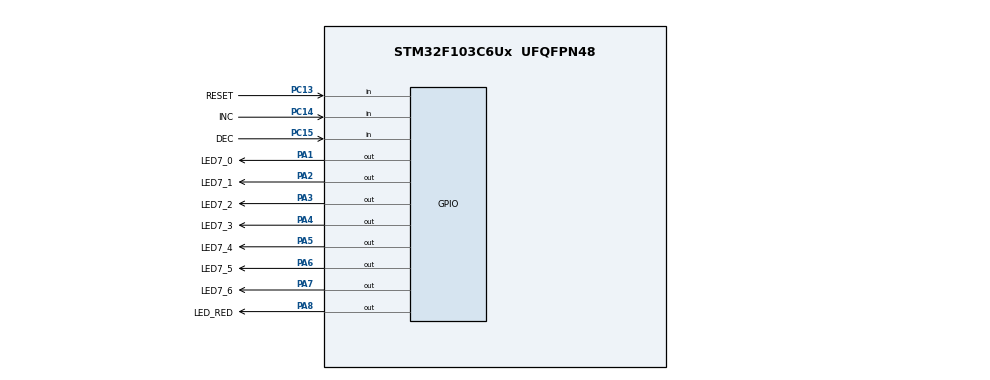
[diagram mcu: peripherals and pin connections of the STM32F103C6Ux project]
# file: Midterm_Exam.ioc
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Mcu.Family=STM32F1
Mcu.Name=STM32F103C6Ux
Mcu.Package=UFQFPN48
NVIC.PriorityGroup=NVIC_PRIORITYGROUP_4
NVIC.TIM2_IRQn=true\:0\:0\:false\:false\:true\:true\:true\:true
PA1.GPIO_Label=LED7_0
PA1.Signal=GPIO_Output
PA2.GPIO_Label=LED7_1
PA2.Signal=GPIO_Output
PA3.GPIO_Label=LED7_2
PA3.Signal=GPIO_Output
PA4.GPIO_Label=LED7_3
PA4.Signal=GPIO_Output
PA5.GPIO_Label=LED7_4
PA5.Signal=GPIO_Output
PA6.GPIO_Label=LED7_5
PA6.Signal=GPIO_Output
PA7.GPIO_Label=LED7_6
PA7.Signal=GPIO_Output
PA8.GPIO_Label=LED_RED
PA8.Signal=GPIO_Output
PC13-TAMPER-RTC.GPIO_Label=RESET
PC13-TAMPER-RTC.GPIO_PuPd=GPIO_PULLUP
PC13-TAMPER-RTC.Signal=GPIO_Input
PC14-OSC32_IN.GPIO_Label=INC
PC14-OSC32_IN.GPIO_PuPd=GPIO_PULLUP
PC14-OSC32_IN.Signal=GPIO_Input
PC15-OSC32_OUT.GPIO_Label=DEC
PC15-OSC32_OUT.GPIO_PuPd=GPIO_PULLUP
PC15-OSC32_OUT.Signal=GPIO_Input
ProjectManager.HeapSize=0x200
ProjectManager.StackSize=0x400
ProjectManager.TargetToolchain=STM32CubeIDE
RCC.APB1Freq_Value=8000000
RCC.APB2Freq_Value=8000000
TIM2.Period=9
TIM2.Prescaler=7999
VP_TIM2_VS_ClockSourceINT.Mode=Internal
board=custom

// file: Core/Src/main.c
/* USER CODE BEGIN Header */
/**
  ******************************************************************************
  * @file           : main.c
  * @brief          : Main program body
  ******************************************************************************
  * @attention
  *
  * Copyright (c) 2022 STMicroelectronics.
  * All rights reserved.
  *
  * This software is licensed under terms that can be found in the LICENSE file
  * in the root directory of this software component.
  * If no LICENSE file comes with this software, it is provided AS-IS.
  *
  ******************************************************************************
  */
/* USER CODE END Header */
#include "main.h"

/* USER CODE BEGIN Includes */
#include "software_timer.h"
#include "button.h"
#include "display7SEG.h"
#include "LedBlinky.h"
#include "fsm_simple_buttons_run.h"
#include "fsm_auto.h"
#include "fsm_long.h"
/* USER CODE END Includes */

TIM_HandleTypeDef htim2;

void SystemClock_Config(void);
static void MX_GPIO_Init(void);
static void MX_TIM2_Init(void);

int main(void)
{

  /* MCU Configuration--------------------------------------------------------*/

  /* Reset of all peripherals, Initializes the Flash interface and the Systick. */
  HAL_Init();

  /* Configure the system clock */
  SystemClock_Config();

  /* Initialize all configured peripherals */
  MX_GPIO_Init();
  MX_TIM2_Init();
  /* USER CODE BEGIN 2 */
  HAL_TIM_Base_Start_IT(&htim2);
  /* USER CODE END 2 */

  /* Infinite loop */
  /* USER CODE BEGIN WHILE */
status = BUT0;
  while (1)
  {
	  fsm_simple_buttons_run();
	  fsm_LedBlinky_run();
	  fsm_auto_run();
	  fsm_long_run();
	  }
    /* USER CODE END WHILE */

  }

void SystemClock_Config(void)
{
  RCC_OscInitTypeDef RCC_OscInitStruct = {0};
  RCC_ClkInitTypeDef RCC_ClkInitStruct = {0};

  /** Initializes the RCC Oscillators according to the specified parameters
  * in the RCC_OscInitTypeDef structure.
  */
  RCC_OscInitStruct.OscillatorType = RCC_OSCILLATORTYPE_HSI;
  RCC_OscInitStruct.HSIState = RCC_HSI_ON;
  RCC_OscInitStruct.HSICalibrationValue = RCC_HSICALIBRATION_DEFAULT;
  RCC_OscInitStruct.PLL.PLLState = RCC_PLL_NONE;
  if (HAL_RCC_OscConfig(&RCC_OscInitStruct) != HAL_OK)
  {
    Error_Handler();
  }

  /** Initializes the CPU, AHB and APB buses clocks
  */
  RCC_ClkInitStruct.ClockType = RCC_CLOCKTYPE_HCLK|RCC_CLOCKTYPE_SYSCLK
                              |RCC_CLOCKTYPE_PCLK1|RCC_CLOCKTYPE_PCLK2;
  RCC_ClkInitStruct.SYSCLKSource = RCC_SYSCLKSOURCE_HSI;
  RCC_ClkInitStruct.AHBCLKDivider = RCC_SYSCLK_DIV1;
  RCC_ClkInitStruct.APB1CLKDivider = RCC_HCLK_DIV1;
  RCC_ClkInitStruct.APB2CLKDivider = RCC_HCLK_DIV1;

  if (HAL_RCC_ClockConfig(&RCC_ClkInitStruct, FLASH_LATENCY_0) != HAL_OK)
  {
    Error_Handler();
  }
}

static void MX_TIM2_Init(void)
{

  TIM_ClockConfigTypeDef sClockSourceConfig = {0};
  TIM_MasterConfigTypeDef sMasterConfig = {0};

  htim2.Instance = TIM2;
  htim2.Init.Prescaler = 7999;
  htim2.Init.CounterMode = TIM_COUNTERMODE_UP;
  htim2.Init.Period = 9;
  htim2.Init.ClockDivision = TIM_CLOCKDIVISION_DIV1;
  htim2.Init.AutoReloadPreload = TIM_AUTORELOAD_PRELOAD_DISABLE;
  if (HAL_TIM_Base_Init(&htim2) != HAL_OK)
  {
    Error_Handler();
  }
  sClockSourceConfig.ClockSource = TIM_CLOCKSOURCE_INTERNAL;
  if (HAL_TIM_ConfigClockSource(&htim2, &sClockSourceConfig) != HAL_OK)
  {
    Error_Handler();
  }
  sMasterConfig.MasterOutputTrigger = TIM_TRGO_RESET;
  sMasterConfig.MasterSlaveMode = TIM_MASTERSLAVEMODE_DISABLE;
  if (HAL_TIMEx_MasterConfigSynchronization(&htim2, &sMasterConfig) != HAL_OK)
  {
    Error_Handler();
  }

}

static void MX_GPIO_Init(void)
{
  GPIO_InitTypeDef GPIO_InitStruct = {0};

  /* GPIO Ports Clock Enable */
  __HAL_RCC_GPIOC_CLK_ENABLE();
  __HAL_RCC_GPIOA_CLK_ENABLE();

  /*Configure GPIO pin Output Level */
  HAL_GPIO_WritePin(GPIOA, LED7_0_Pin|LED7_1_Pin|LED7_2_Pin|LED7_3_Pin
                          |LED7_4_Pin|LED7_5_Pin|LED7_6_Pin|LED_RED_Pin, GPIO_PIN_RESET);

  /*Configure GPIO pins : RESET_Pin INC_Pin DEC_Pin */
  GPIO_InitStruct.Pin = RESET_Pin|INC_Pin|DEC_Pin;
  GPIO_InitStruct.Mode = GPIO_MODE_INPUT;
  GPIO_InitStruct.Pull = GPIO_PULLUP;
  HAL_GPIO_Init(GPIOC, &GPIO_InitStruct);

  /*Configure GPIO pins : LED7_0_Pin LED7_1_Pin LED7_2_Pin LED7_3_Pin
                           LED7_4_Pin LED7_5_Pin LED7_6_Pin LED_RED_Pin */
  GPIO_InitStruct.Pin = LED7_0_Pin|LED7_1_Pin|LED7_2_Pin|LED7_3_Pin
                          |LED7_4_Pin|LED7_5_Pin|LED7_6_Pin|LED_RED_Pin;
  GPIO_InitStruct.Mode = GPIO_MODE_OUTPUT_PP;
  GPIO_InitStruct.Pull = GPIO_NOPULL;
  GPIO_InitStruct.Speed = GPIO_SPEED_FREQ_LOW;
  HAL_GPIO_Init(GPIOA, &GPIO_InitStruct);

}

/* USER CODE BEGIN 4 */
void HAL_TIM_PeriodElapsedCallback(TIM_HandleTypeDef *htim){
	timerRun();
	getKeyInput();
	getKeyInput1();
	getKeyInput2();
}
/* USER CODE END 4 */

void Error_Handler(void)
{
  __disable_irq();
  while (1)
  {
  }
}
